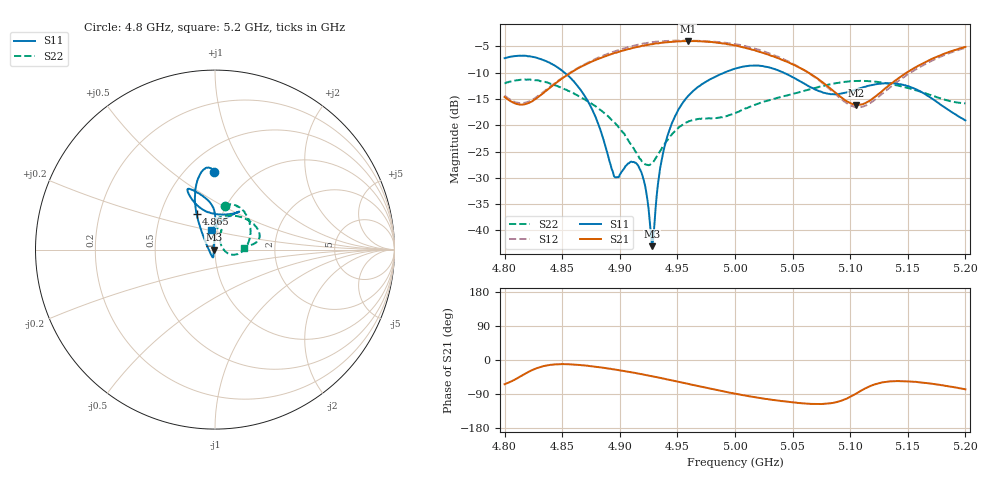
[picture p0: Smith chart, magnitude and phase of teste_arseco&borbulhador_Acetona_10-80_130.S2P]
! Network Analyzer HP8722D
! Hewlett-Packard
! Data name: Linha & Wilkinson
! Saver's name: Rodrigo Anjos
! Comments: Teste da utilização de aquisição
! continua pelo VNA HP8722D
! Time and date: 25/4/2025 16:21
!  Frequency  S11  S21  S12  S22
# HZ  S  MA R 50
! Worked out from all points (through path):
!   401 points, 4.8 GHz to 5.2 GHz, reference 50 ohm
!   highest |S21| = -3.98 dB at 4.959 GHz (marker M1); lowest = -16.1 dB at 5.105 GHz (marker M2)
!   lowest |S11| = -43.0 dB at 4.928 GHz (marker M3), VSWR 1.01, Z = 49.3 - j0.0994 ohm
!   |S11| at or under -10 dB: 4.852 GHz to 4.991 GHz (138.4 MHz wide, 2.81 % of centre); 5.042 GHz to end of sweep
!   |S22| runs from -27.6 to -11.3 dB; largest |S21 - S12| = 1.2
!   S11 on the Smith chart (normalised r, x): 4.8 GHz: 0.68, +0.72; 4.865 GHz: 0.76, +0.32; 5.2 GHz: 0.94, +0.21
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4.8e9  0.4346 90.8  0.1858 -63.9  0.1913 69.7  0.2505 77.6
4.821e9  0.4534 97.3  0.1629 -31.1  0.1682 99.8  0.2717 61.3
4.845e9  0.3605 107.4  0.2544 -11.3  0.2581 119.4  0.2378 34.4
4.865e9  0.2242 117.2  0.3539 -13.0  0.357 121.0  0.188 11.0
4.867e9  0.2093 118.4  0.3633 -13.8  0.3673 120.7  0.1833 8.7
4.88e9  0.1118 128.5  0.4225 -18.3  0.4329 118.4  0.1483 -5.2
4.896e9  0.032 -165.8  0.489 -25.3  0.5063 113.3  0.1048 -15.9
4.909e9  0.04468 -107.9  0.5346 -31.9  0.5608 107.7  0.06735 -14.2
4.917e9  0.03894 -103.0  0.562 -36.3  0.5892 103.5  0.04845 -2.0
4.922e9  0.0265 -106.7  0.5764 -39.2  0.602 100.8  0.04249 15.5
4.928e9  0.007077 -171.8  0.59 -42.9  0.6172 97.1  0.04371 40.0
4.93e9  0.01121 123.4  0.5969 -44.1  0.6194 95.8  0.04632 47.5
4.934e9  0.0323 99.4  0.6027 -46.7  0.6292 93.4  0.05442 57.9
4.943e9  0.08981 90.8  0.619 -52.4  0.6351 87.5  0.07666 68.7
4.959e9  0.188 89.7  0.6326 -62.8  0.6402 77.4  0.1076 71.4
5e9  0.3454 109.2  0.5741 -88.9  0.5911 50.9  0.1305 88.4
5.029e9  0.3565 115.2  0.4696 -103.7  0.4863 34.3  0.1726 85.8
5.067e9  0.2269 105.4  0.3013 -115.8  0.2985 23.5  0.2223 57.3
5.105e9  0.2185 65.5  0.1561 -89.0  0.1486 54.1  0.2634 25.6
5.134e9  0.2513 57.4  0.2408 -56.6  0.2262 88.7  0.2482 12.4
5.169e9  0.1856 70.0  0.4178 -61.9  0.4014 84.9  0.1952 6.9
5.2e9  0.1113 100.6  0.5559 -77.4  0.5454 70.3  0.1614 3.8
